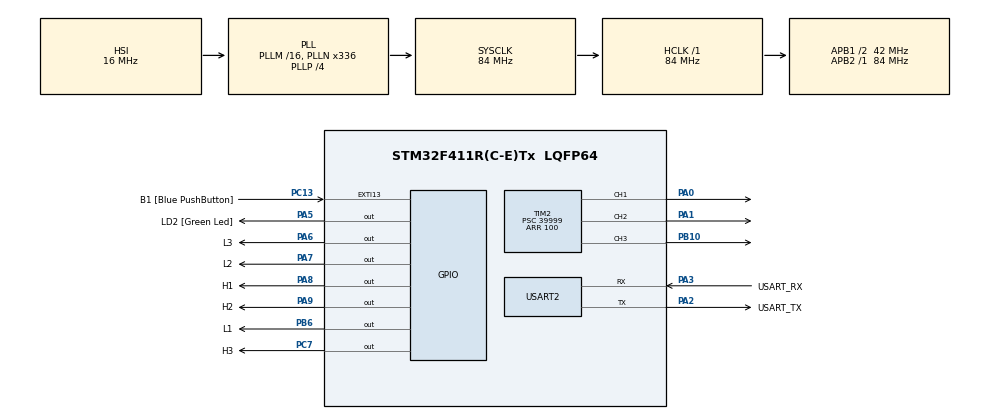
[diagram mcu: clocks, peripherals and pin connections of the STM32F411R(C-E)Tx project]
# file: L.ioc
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Mcu.Family=STM32F4
Mcu.Name=STM32F411R(C-E)Tx
Mcu.Package=LQFP64
NVIC.PriorityGroup=NVIC_PRIORITYGROUP_0
NVIC.TIM2_IRQn=true\:0\:0\:false\:false\:true\:true
PA0-WKUP.Signal=S_TIM2_CH1_ETR
PA1.Signal=S_TIM2_CH2
PA13.GPIO_Label=TMS
PA13.Mode=Serial_Wire
PA13.Signal=SYS_JTMS-SWDIO
PA14.GPIO_Label=TCK
PA14.Mode=Serial_Wire
PA14.Signal=SYS_JTCK-SWCLK
PA2.GPIO_Label=USART_TX
PA2.Mode=Asynchronous
PA2.Signal=USART2_TX
PA3.GPIO_Label=USART_RX
PA3.Mode=Asynchronous
PA3.Signal=USART2_RX
PA5.GPIO_Label=LD2 [Green Led]
PA5.Signal=GPIO_Output
PA6.GPIO_Label=L3
PA6.Signal=GPIO_Output
PA7.GPIO_Label=L2
PA7.Signal=GPIO_Output
PA8.GPIO_Label=H1
PA8.Signal=GPIO_Output
PA9.GPIO_Label=H2
PA9.Signal=GPIO_Output
PB10.Signal=S_TIM2_CH3
PB3.GPIO_Label=SWO
PB3.Signal=SYS_JTDO-SWO
PB6.GPIO_Label=L1
PB6.Signal=GPIO_Output
PC13-ANTI_TAMP.GPIO_Label=B1 [Blue PushButton]
PC13-ANTI_TAMP.GPIO_ModeDefaultEXTI=GPIO_MODE_IT_FALLING
PC13-ANTI_TAMP.Signal=GPXTI13
PC14-OSC32_IN.Mode=LSE-External-Oscillator
PC14-OSC32_IN.Signal=RCC_OSC32_IN
PC15-OSC32_OUT.Mode=LSE-External-Oscillator
PC15-OSC32_OUT.Signal=RCC_OSC32_OUT
PC7.GPIO_Label=H3
PC7.Signal=GPIO_Output
PH0\ -\ OSC_IN.Mode=HSE-External-Clock-Source
PH0\ -\ OSC_IN.Signal=RCC_OSC_IN
PH1\ -\ OSC_OUT.Mode=HSE-External-Clock-Source
PH1\ -\ OSC_OUT.Signal=RCC_OSC_OUT
ProjectManager.HeapSize=0x200
ProjectManager.StackSize=0x400
ProjectManager.TargetToolchain=SW4STM32
RCC.48MHZClocksFreq_Value=84000000
RCC.AHBFreq_Value=84000000
RCC.APB1CLKDivider=RCC_HCLK_DIV2
RCC.APB1Freq_Value=42000000
RCC.APB1TimFreq_Value=84000000
RCC.APB2Freq_Value=84000000
RCC.APB2TimFreq_Value=84000000
RCC.CortexFreq_Value=84000000
RCC.FLatency-AdvancedSettings=FLASH_LATENCY_2
RCC.HCLKFreq_Value=84000000
RCC.HSE_VALUE=8000000
RCC.HSI_VALUE=16000000
RCC.PLLN=336
RCC.PLLP=RCC_PLLP_DIV4
RCC.SYSCLKFreq_VALUE=84000000
RCC.SYSCLKSource=RCC_SYSCLKSOURCE_PLLCLK
RCC.VCOOutputFreq_Value=336000000
SH.S_TIM2_CH1_ETR.0=TIM2_CH1,PWM Generation1 CH1
SH.S_TIM2_CH2.0=TIM2_CH2,PWM Generation2 CH2
SH.S_TIM2_CH3.0=TIM2_CH3,PWM Generation3 CH3
TIM2.Channel-PWM\ Generation1\ CH1=TIM_CHANNEL_1
TIM2.Channel-PWM\ Generation2\ CH2=TIM_CHANNEL_2
TIM2.Channel-PWM\ Generation3\ CH3=TIM_CHANNEL_3
TIM2.Period=100
TIM2.Prescaler=39999
USART2.VirtualMode=VM_ASYNC
VP_TIM2_VS_ClockSourceINT.Mode=Internal
board=NUCLEO-F411RE

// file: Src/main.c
/**
 ******************************************************************************
 * @file           : main.c
 * @brief          : Main program body
 ******************************************************************************
 ** This notice applies to any and all portions of this file
 * that are not between comment pairs USER CODE BEGIN and
 * USER CODE END. Other portions of this file, whether
 * inserted by the user or by software development tools
 * are owned by their respective copyright owners.
 *
 * COPYRIGHT(c) 2018 STMicroelectronics
 *
 * Redistribution and use in source and binary forms, with or without modification,
 * are permitted provided that the following conditions are met:
 *   1. Redistributions of source code must retain the above copyright notice,
 *      this list of conditions and the following disclaimer.
 *   2. Redistributions in binary form must reproduce the above copyright notice,
 *      this list of conditions and the following disclaimer in the documentation
 *      and/or other materials provided with the distribution.
 *   3. Neither the name of STMicroelectronics nor the names of its contributors
 *      may be used to endorse or promote products derived from this software
 *      without specific prior written permission.
 *
 * THIS SOFTWARE IS PROVIDED BY THE COPYRIGHT HOLDERS AND CONTRIBUTORS "AS IS"
 * AND ANY EXPRESS OR IMPLIED WARRANTIES, INCLUDING, BUT NOT LIMITED TO, THE
 * IMPLIED WARRANTIES OF MERCHANTABILITY AND FITNESS FOR A PARTICULAR PURPOSE ARE
 * DISCLAIMED. IN NO EVENT SHALL THE COPYRIGHT HOLDER OR CONTRIBUTORS BE LIABLE
 * FOR ANY DIRECT, INDIRECT, INCIDENTAL, SPECIAL, EXEMPLARY, OR CONSEQUENTIAL
 * DAMAGES (INCLUDING, BUT NOT LIMITED TO, PROCUREMENT OF SUBSTITUTE GOODS OR
 * SERVICES; LOSS OF USE, DATA, OR PROFITS; OR BUSINESS INTERRUPTION) HOWEVER
 * CAUSED AND ON ANY THEORY OF LIABILITY, WHETHER IN CONTRACT, STRICT LIABILITY,
 * OR TORT (INCLUDING NEGLIGENCE OR OTHERWISE) ARISING IN ANY WAY OUT OF THE USE
 * OF THIS SOFTWARE, EVEN IF ADVISED OF THE POSSIBILITY OF SUCH DAMAGE.
 *
 ******************************************************************************
 */
#include "main.h"
#include "stm32f4xx_hal.h"

TIM_HandleTypeDef htim2;

UART_HandleTypeDef huart2;

/* USER CODE BEGIN PV */
/* Private variables ---------------------------------------------------------*/

/* USER CODE END PV */

void SystemClock_Config(void);
static void MX_GPIO_Init(void);
static void MX_TIM2_Init(void);
static void MX_USART2_UART_Init(void);
void HAL_TIM_MspPostInit(TIM_HandleTypeDef *htim);

/* USER CODE BEGIN PFP */
/* Private function prototypes -----------------------------------------------*/

/* USER CODE END PFP */

/* USER CODE BEGIN 0 */
int arrayPos1 = 0; // keeps track of the first pwm's position in the look up table
int arrayPos2 = 162; // keeps track of the second pwm's position in the look up table
int arrayPos3 = 333; // keeps track of the third pwm's position in the look up table
short set1 = 0; // dictates whether the pwm writes to h1 or l1
short set2 = 0; // dictates whether the pwm writes to h2 or l2
short set3 = 0; // dictates whether the pwm writes to h3 or l3
short increment = 10; // dictates how quickly the pwm moves through the lookup table

int lookUp[] = {
        50,50,50,50,51,51,51,51,51,51,52,52,52,52,52,52,53,53,53,53,
        53,53,53,54,54,54,54,54,54,55,55,55,55,55,55,55,56,56,56,56,
        56,56,57,57,57,57,57,57,58,58,58,58,58,58,58,59,59,59,59,59,
        59,60,60,60,60,60,60,60,61,61,61,61,61,61,62,62,62,62,62,62,
        62,63,63,63,63,63,63,63,64,64,64,64,64,64,65,65,65,65,65,65,
        65,66,66,66,66,66,66,66,67,67,67,67,67,67,68,68,68,68,68,68,
        68,69,69,69,69,69,69,69,70,70,70,70,70,70,70,71,71,71,71,71,
        71,71,72,72,72,72,72,72,72,73,73,73,73,73,73,73,74,74,74,74,
        74,74,74,74,75,75,75,75,75,75,75,76,76,76,76,76,76,76,77,77,
        77,77,77,77,77,77,78,78,78,78,78,78,78,78,79,79,79,79,79,79,
        79,80,80,80,80,80,80,80,80,81,81,81,81,81,81,81,81,82,82,82,
        82,82,82,82,82,82,83,83,83,83,83,83,83,83,84,84,84,84,84,84,
        84,84,84,85,85,85,85,85,85,85,85,85,86,86,86,86,86,86,86,86,
        86,87,87,87,87,87,87,87,87,87,88,88,88,88,88,88,88,88,88,88,
        89,89,89,89,89,89,89,89,89,89,90,90,90,90,90,90,90,90,90,90,
        90,91,91,91,91,91,91,91,91,91,91,91,92,92,92,92,92,92,92,92,
        92,92,92,92,93,93,93,93,93,93,93,93,93,93,93,93,94,94,94,94,
        94,94,94,94,94,94,94,94,94,94,95,95,95,95,95,95,95,95,95,95,
        95,95,95,95,96,96,96,96,96,96,96,96,96,96,96,96,96,96,96,96,
        96,97,97,97,97,97,97,97,97,97,97,97,97,97,97,97,97,97,97,98,
        98,98,98,98,98,98,98,98,98,98,98,98,98,98,98,98,98,98,98,98,
        98,98,99,99,99,99,99,99,99,99,99,99,99,99,99,99,99,99,99,99,
        99,99,99,99,99,99,99,99,99,99,99,99,99,99,99,100,100,100,100,100,
        100,100,100,100,100,100,100,100,100,100,100,100,100,100,100,100,100,100,100,100,
        100,100,100,100,100,100,100,100,100,100,100,100,100,100,100,100,100,100,100,100,
        100,100,100,100,100,100,100,100,100,100,100,100,100,100,100,100,100,100,100,100,
        100,100,100,100,100,100,100,100,100,100,100,100,100,100,100,100,100,100,100,100,
        100,100,100,100,100,100,99,99,99,99,99,99,99,99,99,99,99,99,99,99,
        99,99,99,99,99,99,99,99,99,99,99,99,99,99,99,99,99,99,99,98,
        98,98,98,98,98,98,98,98,98,98,98,98,98,98,98,98,98,98,98,98,
        98,98,97,97,97,97,97,97,97,97,97,97,97,97,97,97,97,97,97,97,
        96,96,96,96,96,96,96,96,96,96,96,96,96,96,96,96,96,95,95,95,
        95,95,95,95,95,95,95,95,95,95,95,94,94,94,94,94,94,94,94,94,
        94,94,94,94,94,93,93,93,93,93,93,93,93,93,93,93,93,92,92,92,
        92,92,92,92,92,92,92,92,92,91,91,91,91,91,91,91,91,91,91,91,
        90,90,90,90,90,90,90,90,90,90,90,89,89,89,89,89,89,89,89,89,
        89,88,88,88,88,88,88,88,88,88,88,87,87,87,87,87,87,87,87,87,
        86,86,86,86,86,86,86,86,86,85,85,85,85,85,85,85,85,85,84,84,
        84,84,84,84,84,84,84,83,83,83,83,83,83,83,83,82,82,82,82,82,
        82,82,82,82,81,81,81,81,81,81,81,81,80,80,80,80,80,80,80,80,
        79,79,79,79,79,79,79,78,78,78,78,78,78,78,78,77,77,77,77,77,
        77,77,77,76,76,76,76,76,76,76,75,75,75,75,75,75,75,74,74,74,
        74,74,74,74,74,73,73,73,73,73,73,73,72,72,72,72,72,72,72,71,
        71,71,71,71,71,71,70,70,70,70,70,70,70,69,69,69,69,69,69,69,
        68,68,68,68,68,68,68,67,67,67,67,67,67,66,66,66,66,66,66,66,
        65,65,65,65,65,65,65,64,64,64,64,64,64,63,63,63,63,63,63,63,
        62,62,62,62,62,62,62,61,61,61,61,61,61,60,60,60,60,60,60,60,
        59,59,59,59,59,59,58,58,58,58,58,58,58,57,57,57,57,57,57,56,
        56,56,56,56,56,55,55,55,55,55,55,55,54,54,54,54,54,54,53,53,
        53,53,53,53,53,52,52,52,52,52,52,51,51,51,51,51,51,50,50,50,
        };
/* USER CODE END 0 */

int main(void)
{

    /* MCU Configuration----------------------------------------------------------*/

    /* Reset of all peripherals, Initializes the Flash interface and the Systick. */
    HAL_Init();

    /* Configure the system clock */
    SystemClock_Config();

    /* Initialize all configured peripherals */
    MX_GPIO_Init();
    MX_TIM2_Init();
    MX_USART2_UART_Init();
    /* USER CODE BEGIN 2 */
    HAL_TIM_PWM_Start(&htim2, TIM_CHANNEL_1); //initializes the pwm channels
    HAL_TIM_PWM_Start(&htim2, TIM_CHANNEL_2);
    HAL_TIM_PWM_Start(&htim2, TIM_CHANNEL_3);
    HAL_TIM_Base_Start_IT(&htim2);

    //    HAL_GPIO_WritePin(GPIOC, GPIO_PIN_10, 1); // turns on en-gate, allows for writing to motor pins

    /* USER CODE END 2 */

    /* Infinite loop */
    /* USER CODE BEGIN WHILE */
    HAL_GPIO_WritePin(GPIOA, GPIO_PIN_5, 1);
    while (1)
        {
            /* USER CODE END WHILE */

            /* USER CODE BEGIN 3 */
            if(set1){
                    HAL_GPIO_WritePin(GPIOA, GPIO_PIN_8, ((TIM2->CNT < TIM2->CCR1)? 1 : 0));
            }else{
                    HAL_GPIO_WritePin(GPIOB, GPIO_PIN_6, ((TIM2->CNT < TIM2->CCR1)? 1 : 0));
            }
            if(set2){
                    HAL_GPIO_WritePin(GPIOA, GPIO_PIN_9, ((TIM2->CNT < TIM2->CCR2)? 1 : 0));
            }else{
                    HAL_GPIO_WritePin(GPIOA, GPIO_PIN_7, ((TIM2->CNT < TIM2->CCR2)? 1 : 0));
            }
            if(set3){
                    HAL_GPIO_WritePin(GPIOC, GPIO_PIN_7, ((TIM2->CNT < TIM2->CCR3)? 1 : 0));
            }else{
                    HAL_GPIO_WritePin(GPIOA, GPIO_PIN_6, ((TIM2->CNT < TIM2->CCR3)? 1 : 0));
            }
            /* USER CODE END 3 */

        }
}
void HAL_TIM_PeriodElapsedCallback(TIM_HandleTypeDef *htim){
    arrayPos1 += increment; // moves the value of the array up
    arrayPos2 += increment; // moves the value of the array up
    arrayPos3 += increment; // moves the value of the array up

    if(arrayPos1 >= 1000){
            arrayPos1 = 0;

            set1 = !set1;

    }
    else if(arrayPos2 >= 1000){
            arrayPos2 = 0;

            set2 = !set2;
    }
    else if(arrayPos3 >= 1000){
            arrayPos3 = 0;

            set3 = !set3;
    }
    TIM2->CCR1 = lookUp[arrayPos1];
    TIM2->CCR2 = lookUp[arrayPos2];
    TIM2->CCR3 = lookUp[arrayPos3];
}

void SystemClock_Config(void)
{

    RCC_OscInitTypeDef RCC_OscInitStruct;
    RCC_ClkInitTypeDef RCC_ClkInitStruct;

    /**Configure the main internal regulator output voltage
     */
    __HAL_RCC_PWR_CLK_ENABLE();

    __HAL_PWR_VOLTAGESCALING_CONFIG(PWR_REGULATOR_VOLTAGE_SCALE1);

    /**Initializes the CPU, AHB and APB busses clocks
     */
    RCC_OscInitStruct.OscillatorType = RCC_OSCILLATORTYPE_HSI;
    RCC_OscInitStruct.HSIState = RCC_HSI_ON;
    RCC_OscInitStruct.HSICalibrationValue = 16;
    RCC_OscInitStruct.PLL.PLLState = RCC_PLL_ON;
    RCC_OscInitStruct.PLL.PLLSource = RCC_PLLSOURCE_HSI;
    RCC_OscInitStruct.PLL.PLLM = 16;
    RCC_OscInitStruct.PLL.PLLN = 336;
    RCC_OscInitStruct.PLL.PLLP = RCC_PLLP_DIV4;
    RCC_OscInitStruct.PLL.PLLQ = 4;
    if (HAL_RCC_OscConfig(&RCC_OscInitStruct) != HAL_OK)
        {
            _Error_Handler(__FILE__, __LINE__);
        }

    /**Initializes the CPU, AHB and APB busses clocks
     */
    RCC_ClkInitStruct.ClockType = RCC_CLOCKTYPE_HCLK|RCC_CLOCKTYPE_SYSCLK
            |RCC_CLOCKTYPE_PCLK1|RCC_CLOCKTYPE_PCLK2;
    RCC_ClkInitStruct.SYSCLKSource = RCC_SYSCLKSOURCE_PLLCLK;
    RCC_ClkInitStruct.AHBCLKDivider = RCC_SYSCLK_DIV1;
    RCC_ClkInitStruct.APB1CLKDivider = RCC_HCLK_DIV2;
    RCC_ClkInitStruct.APB2CLKDivider = RCC_HCLK_DIV1;

    if (HAL_RCC_ClockConfig(&RCC_ClkInitStruct, FLASH_LATENCY_2) != HAL_OK)
        {
            _Error_Handler(__FILE__, __LINE__);
        }

    /**Configure the Systick interrupt time
     */
    HAL_SYSTICK_Config(HAL_RCC_GetHCLKFreq()/1000);

    /**Configure the Systick
     */
    HAL_SYSTICK_CLKSourceConfig(SYSTICK_CLKSOURCE_HCLK);

    /* SysTick_IRQn interrupt configuration */
    HAL_NVIC_SetPriority(SysTick_IRQn, 0, 0);
}

/* TIM2 init function */
static void MX_TIM2_Init(void)
{

    TIM_ClockConfigTypeDef sClockSourceConfig;
    TIM_MasterConfigTypeDef sMasterConfig;
    TIM_OC_InitTypeDef sConfigOC;

    htim2.Instance = TIM2;
    htim2.Init.Prescaler = 39999;
    htim2.Init.CounterMode = TIM_COUNTERMODE_UP;
    htim2.Init.Period = 100;
    htim2.Init.ClockDivision = TIM_CLOCKDIVISION_DIV1;
    if (HAL_TIM_Base_Init(&htim2) != HAL_OK)
        {
            _Error_Handler(__FILE__, __LINE__);
        }

    sClockSourceConfig.ClockSource = TIM_CLOCKSOURCE_INTERNAL;
    if (HAL_TIM_ConfigClockSource(&htim2, &sClockSourceConfig) != HAL_OK)
        {
            _Error_Handler(__FILE__, __LINE__);
        }

    if (HAL_TIM_PWM_Init(&htim2) != HAL_OK)
        {
            _Error_Handler(__FILE__, __LINE__);
        }

    sMasterConfig.MasterOutputTrigger = TIM_TRGO_RESET;
    sMasterConfig.MasterSlaveMode = TIM_MASTERSLAVEMODE_DISABLE;
    if (HAL_TIMEx_MasterConfigSynchronization(&htim2, &sMasterConfig) != HAL_OK)
        {
            _Error_Handler(__FILE__, __LINE__);
        }

    sConfigOC.OCMode = TIM_OCMODE_PWM1;
    sConfigOC.Pulse = 0;
    sConfigOC.OCPolarity = TIM_OCPOLARITY_HIGH;
    sConfigOC.OCFastMode = TIM_OCFAST_DISABLE;
    if (HAL_TIM_PWM_ConfigChannel(&htim2, &sConfigOC, TIM_CHANNEL_1) != HAL_OK)
        {
            _Error_Handler(__FILE__, __LINE__);
        }

    if (HAL_TIM_PWM_ConfigChannel(&htim2, &sConfigOC, TIM_CHANNEL_2) != HAL_OK)
        {
            _Error_Handler(__FILE__, __LINE__);
        }

    if (HAL_TIM_PWM_ConfigChannel(&htim2, &sConfigOC, TIM_CHANNEL_3) != HAL_OK)
        {
            _Error_Handler(__FILE__, __LINE__);
        }

    HAL_TIM_MspPostInit(&htim2);

}

/* USART2 init function */
static void MX_USART2_UART_Init(void)
{

    huart2.Instance = USART2;
    huart2.Init.BaudRate = 115200;
    huart2.Init.WordLength = UART_WORDLENGTH_8B;
    huart2.Init.StopBits = UART_STOPBITS_1;
    huart2.Init.Parity = UART_PARITY_NONE;
    huart2.Init.Mode = UART_MODE_TX_RX;
    huart2.Init.HwFlowCtl = UART_HWCONTROL_NONE;
    huart2.Init.OverSampling = UART_OVERSAMPLING_16;
    if (HAL_UART_Init(&huart2) != HAL_OK)
        {
            _Error_Handler(__FILE__, __LINE__);
        }

}

/** Configure pins as
 * Analog
 * Input
 * Output
 * EVENT_OUT
 * EXTI
 */
static void MX_GPIO_Init(void)
{

    GPIO_InitTypeDef GPIO_InitStruct;

    /* GPIO Ports Clock Enable */
    __HAL_RCC_GPIOC_CLK_ENABLE();
    __HAL_RCC_GPIOH_CLK_ENABLE();
    __HAL_RCC_GPIOA_CLK_ENABLE();
    __HAL_RCC_GPIOB_CLK_ENABLE();

    /*Configure GPIO pin Output Level */
    HAL_GPIO_WritePin(GPIOA, LD2_Pin|L3_Pin|L2_Pin|H1_Pin
                      |H2_Pin, GPIO_PIN_RESET);

    /*Configure GPIO pin Output Level */
    HAL_GPIO_WritePin(H3_GPIO_Port, H3_Pin, GPIO_PIN_RESET);

    /*Configure GPIO pin Output Level */
    HAL_GPIO_WritePin(L1_GPIO_Port, L1_Pin, GPIO_PIN_RESET);

    /*Configure GPIO pin : B1_Pin */
    GPIO_InitStruct.Pin = B1_Pin;
    GPIO_InitStruct.Mode = GPIO_MODE_IT_FALLING;
    GPIO_InitStruct.Pull = GPIO_NOPULL;
    HAL_GPIO_Init(B1_GPIO_Port, &GPIO_InitStruct);

    /*Configure GPIO pins : LD2_Pin L3_Pin L2_Pin H1_Pin
                           H2_Pin */
    GPIO_InitStruct.Pin = LD2_Pin|L3_Pin|L2_Pin|H1_Pin
            |H2_Pin;
    GPIO_InitStruct.Mode = GPIO_MODE_OUTPUT_PP;
    GPIO_InitStruct.Pull = GPIO_NOPULL;
    GPIO_InitStruct.Speed = GPIO_SPEED_FREQ_LOW;
    HAL_GPIO_Init(GPIOA, &GPIO_InitStruct);

    /*Configure GPIO pin : H3_Pin */
    GPIO_InitStruct.Pin = H3_Pin;
    GPIO_InitStruct.Mode = GPIO_MODE_OUTPUT_PP;
    GPIO_InitStruct.Pull = GPIO_NOPULL;
    GPIO_InitStruct.Speed = GPIO_SPEED_FREQ_LOW;
    HAL_GPIO_Init(H3_GPIO_Port, &GPIO_InitStruct);

    /*Configure GPIO pin : L1_Pin */
    GPIO_InitStruct.Pin = L1_Pin;
    GPIO_InitStruct.Mode = GPIO_MODE_OUTPUT_PP;
    GPIO_InitStruct.Pull = GPIO_NOPULL;
    GPIO_InitStruct.Speed = GPIO_SPEED_FREQ_LOW;
    HAL_GPIO_Init(L1_GPIO_Port, &GPIO_InitStruct);

}

void _Error_Handler(char *file, int line)
{
    while(1)
        {
        }
}

/************************ (C) COPYRIGHT STMicroelectronics *****END OF FILE****/
